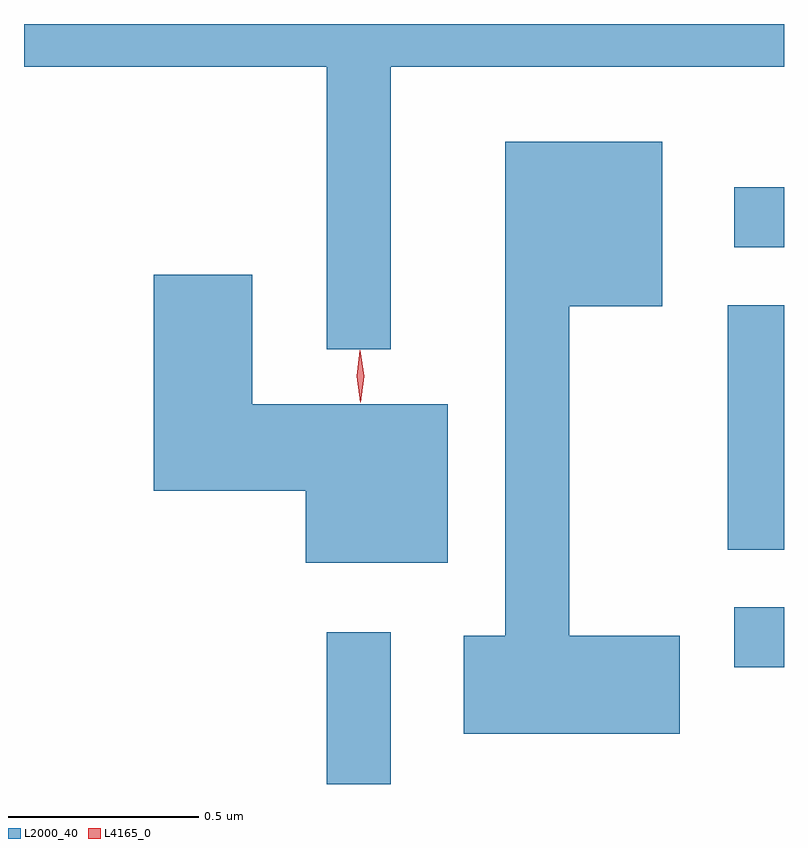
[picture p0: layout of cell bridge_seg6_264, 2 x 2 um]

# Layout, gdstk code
import gdstk
lib = gdstk.Library(unit=1e-6, precision=1e-09)
def R(c, l, rs):  # rectangles x0, y0, x1, y1
    for r in rs: c.add(gdstk.rectangle(r[:2], r[2:], *l))
def P(c, l, *ps):  # polygons
    for p in ps: c.add(gdstk.Polygon(p, *l))
L2000_40 = (2000, 40)
L4165_0 = (4165, 0)

bridge_seg6_264 = lib.new_cell('bridge_seg6_264')
R(bridge_seg6_264, L2000_40, [(1342.741,1574.789,1342.909,1575.188), (1343.813,1575.096,1343.944,1575.254), (1343.796,1575.406,1343.944,1576.049), (1343.813,1576.201,1343.944,1576.359)])
P(bridge_seg6_264, L2000_40, [(1342.909,1576.676),(1343.944,1576.676),(1343.944,1576.789),(1341.944,1576.789),(1341.944,1576.676),(1342.741,1576.676),(1342.741,1575.933),(1342.909,1575.933)],
  [(1343.669,1575.179),(1343.379,1575.179),(1343.379,1576.046),(1343.624,1576.046),(1343.624,1576.479),(1343.211,1576.479),(1343.211,1575.179),(1343.101,1575.179),(1343.101,1574.921),(1343.669,1574.921)],
  [(1343.059,1575.789),(1342.544,1575.789),(1342.544,1576.129),(1342.286,1576.129),(1342.286,1575.561),(1342.686,1575.561),(1342.686,1575.371),(1343.059,1575.371)])
P(bridge_seg6_264, L4165_0, [(1342.829,1575.794),(1342.829,1575.794),(1342.819,1575.862),(1342.828,1575.93),(1342.828,1575.931),(1342.829,1575.93),(1342.839,1575.862),(1342.83,1575.794)])

lib.write_gds('bridge_seg6_264.gds')
